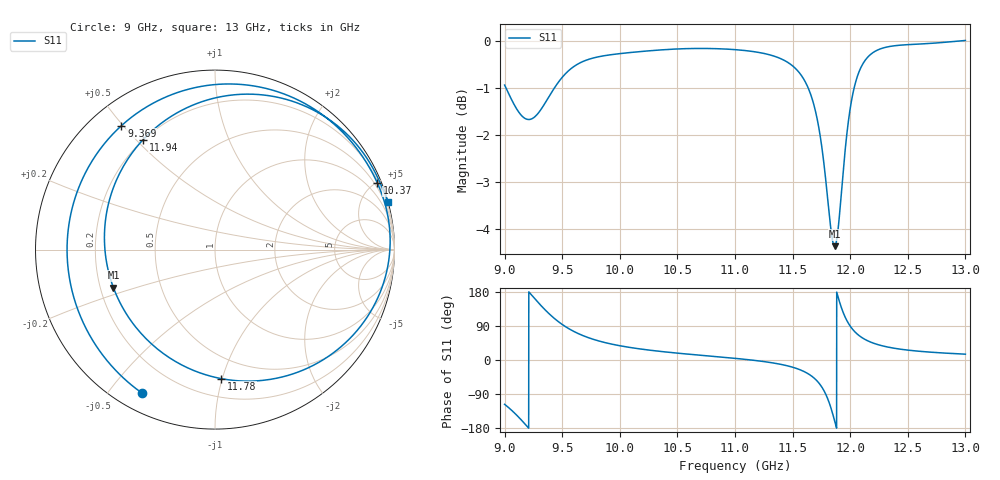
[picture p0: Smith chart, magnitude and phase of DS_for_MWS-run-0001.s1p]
! TOUCHSTONE file generated by CST DESIGN STUDIO
! Date and time: Tue Feb  4 14:26:41 2025
! Project name: C:\Work\MatlabApps\UnitCellOptimizationMatlab\CST\unitcell.cst
! Tree item: Tasks\Sweep1\SPara1\S-Parameters
! Header version: 2024
! Port assignment regex: !\s*Touchstone port\s*([0-9]+)\s*=\s*(CST MWS port|CST DES external port|CST DES block port)\s*(.+)\s* \(\"(.*)\"\)(\s*mode\s*([0-9]+))?.*
! Touchstone port assignment:
! Touchstone port 1 = CST DES external port 1 ("")
# GHz S MA R 50
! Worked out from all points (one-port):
!   4001 points, 9 GHz to 13 GHz, reference 50 ohm
!   lowest |S11| = -4.4 dB at 11.86 GHz (marker M1), VSWR 4.05, Z = 12.7 - j8.46 ohm
!   |S11| at or under -10 dB: nowhere
!   S11 on the Smith chart (normalised r, x): 9 GHz: 0.07, -0.61; 9.369 GHz: 0.09, +0.49; 10.37 GHz: 0.30, +5.07; 11.78 GHz: 0.33, -0.99; 11.94 GHz: 0.20, +0.52; 13 GHz: -0.01, +7.42
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9  0.8969 -116.9
9.09  0.8519 -141.1
9.199  0.8245 -176.4
9.279  0.8336 156.0
9.369  0.8652 127.1
9.5  0.914 93.8
9.607  0.9396 74.4
9.717  0.9541 60.0
10  0.9687 37.6
10.366  0.9778 22.2
10.5  0.9799 18.1
11  0.9782 4.4
11.296  0.9662 -6.1
11.5  0.9401 -19.0
11.597  0.9099 -30.1
11.67  0.8668 -43.6
11.729  0.8062 -61.1
11.783  0.7196 -87.3
11.824  0.6432 -118.3
11.864  0.6043 -159.5
11.9  0.6387 160.8
11.942  0.7322 123.2
12  0.8468 89.5
12.077  0.9267 64.5
12.172  0.9657 47.9
12.303  0.9835 35.7
12.5  0.9903 26.1
13  1 15.4
